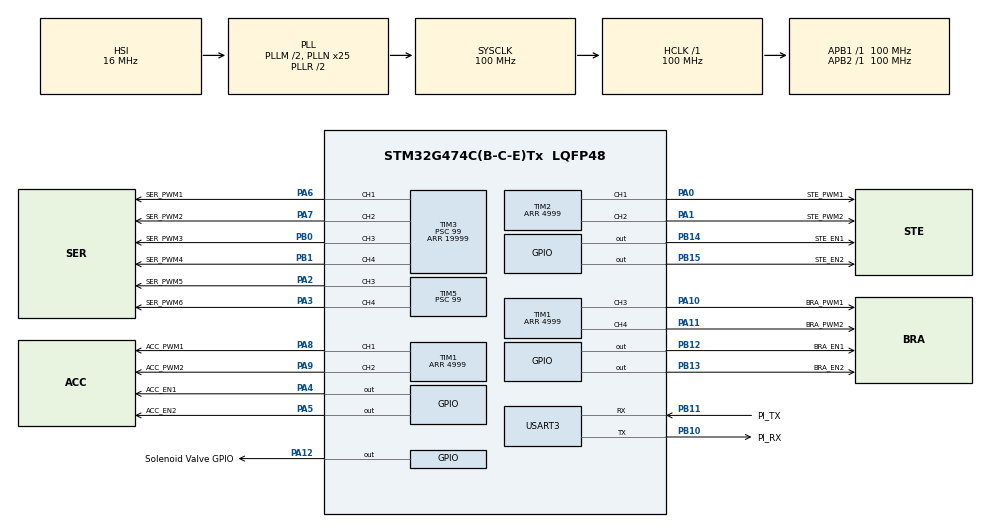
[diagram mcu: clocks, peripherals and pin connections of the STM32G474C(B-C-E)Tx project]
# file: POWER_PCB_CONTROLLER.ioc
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Mcu.Family=STM32G4
Mcu.Name=STM32G474C(B-C-E)Tx
Mcu.Package=LQFP48
NVIC.PriorityGroup=NVIC_PRIORITYGROUP_4
NVIC.USART3_IRQn=true\:0\:0\:false\:false\:true\:true\:true\:true
PA0.GPIO_Label=STE_PWM1
PA0.Signal=S_TIM2_CH1
PA1.GPIO_Label=STE_PWM2
PA1.Signal=S_TIM2_CH2
PA10.GPIO_Label=BRA_PWM1
PA10.Signal=S_TIM1_CH3
PA11.GPIO_Label=BRA_PWM2
PA11.Signal=S_TIM1_CH4
PA12.GPIO_Label=Solenoid Valve GPIO
PA12.Signal=GPIO_Output
PA13.Mode=Serial_Wire
PA13.Signal=SYS_JTMS-SWDIO
PA14.Mode=Serial_Wire
PA14.Signal=SYS_JTCK-SWCLK
PA2.GPIO_Label=SER_PWM5
PA2.Signal=S_TIM5_CH3
PA3.GPIO_Label=SER_PWM6
PA3.Signal=S_TIM5_CH4
PA4.GPIO_Label=ACC_EN1
PA4.Signal=GPIO_Output
PA5.GPIO_Label=ACC_EN2
PA5.Signal=GPIO_Output
PA6.GPIO_Label=SER_PWM1
PA6.Signal=S_TIM3_CH1
PA7.GPIO_Label=SER_PWM2
PA7.Signal=S_TIM3_CH2
PA8.GPIO_Label=ACC_PWM1
PA8.Signal=S_TIM1_CH1
PA9.GPIO_Label=ACC_PWM2
PA9.Signal=S_TIM1_CH2
PB0.GPIO_Label=SER_PWM3
PB0.Signal=S_TIM3_CH3
PB1.GPIO_Label=SER_PWM4
PB1.Signal=S_TIM3_CH4
PB10.GPIO_Label=PI_RX
PB10.Mode=Asynchronous
PB10.Signal=USART3_TX
PB11.GPIO_Label=PI_TX
PB11.Mode=Asynchronous
PB11.Signal=USART3_RX
PB12.GPIO_Label=BRA_EN1
PB12.Signal=GPIO_Output
PB13.GPIO_Label=BRA_EN2
PB13.Signal=GPIO_Output
PB14.GPIO_Label=STE_EN1
PB14.Signal=GPIO_Output
PB15.GPIO_Label=STE_EN2
PB15.Signal=GPIO_Output
ProjectManager.HeapSize=0x200
ProjectManager.StackSize=0x400
ProjectManager.TargetToolchain=STM32CubeIDE
RCC.ADC12Freq_Value=100000000
RCC.ADC345Freq_Value=100000000
RCC.AHBFreq_Value=100000000
RCC.APB1Freq_Value=100000000
RCC.APB1TimFreq_Value=100000000
RCC.APB2Freq_Value=100000000
RCC.APB2TimFreq_Value=100000000
RCC.CortexFreq_Value=100000000
RCC.EXTERNAL_CLOCK_VALUE=12288000
RCC.HCLKFreq_Value=100000000
RCC.HSE_VALUE=8000000
RCC.HSI48_VALUE=48000000
RCC.HSI_VALUE=16000000
RCC.LSE_VALUE=32768
RCC.PLLM=RCC_PLLM_DIV2
RCC.PLLN=25
RCC.SYSCLKFreq_VALUE=100000000
RCC.SYSCLKSource=RCC_SYSCLKSOURCE_PLLCLK
RCC.USBFreq_Value=100000000
RCC.VCOOutputFreq_Value=200000000
SH.S_TIM1_CH1.0=TIM1_CH1,PWM Generation1 CH1
SH.S_TIM1_CH2.0=TIM1_CH2,PWM Generation2 CH2
SH.S_TIM1_CH3.0=TIM1_CH3,PWM Generation3 CH3
SH.S_TIM1_CH4.0=TIM1_CH4,PWM Generation4 CH4
SH.S_TIM2_CH1.0=TIM2_CH1,PWM Generation1 CH1
SH.S_TIM2_CH2.0=TIM2_CH2,PWM Generation2 CH2
SH.S_TIM3_CH1.0=TIM3_CH1,PWM Generation1 CH1
SH.S_TIM3_CH2.0=TIM3_CH2,PWM Generation2 CH2
SH.S_TIM3_CH3.0=TIM3_CH3,PWM Generation3 CH3
SH.S_TIM3_CH4.0=TIM3_CH4,PWM Generation4 CH4
SH.S_TIM5_CH3.0=TIM5_CH3,PWM Generation3 CH3
SH.S_TIM5_CH4.0=TIM5_CH4,PWM Generation4 CH4
TIM1.AutoReloadPreload=TIM_AUTORELOAD_PRELOAD_ENABLE
TIM1.Channel-PWM\ Generation1\ CH1=TIM_CHANNEL_1
TIM1.Channel-PWM\ Generation2\ CH2=TIM_CHANNEL_2
TIM1.Channel-PWM\ Generation3\ CH3=TIM_CHANNEL_3
TIM1.Channel-PWM\ Generation4\ CH4=TIM_CHANNEL_4
TIM1.PeriodNoDither=4999
TIM2.AutoReloadPreload=TIM_AUTORELOAD_PRELOAD_ENABLE
TIM2.Channel-PWM\ Generation1\ CH1=TIM_CHANNEL_1
TIM2.Channel-PWM\ Generation2\ CH2=TIM_CHANNEL_2
TIM2.PeriodNoDither=4999
TIM3.AutoReloadPreload=TIM_AUTORELOAD_PRELOAD_ENABLE
TIM3.Channel-PWM\ Generation1\ CH1=TIM_CHANNEL_1
TIM3.Channel-PWM\ Generation2\ CH2=TIM_CHANNEL_2
TIM3.Channel-PWM\ Generation3\ CH3=TIM_CHANNEL_3
TIM3.Channel-PWM\ Generation4\ CH4=TIM_CHANNEL_4
TIM3.PeriodNoDither=19999
TIM3.Prescaler=99
TIM5.AutoReloadPreload=TIM_AUTORELOAD_PRELOAD_ENABLE
TIM5.Channel-PWM\ Generation3\ CH3=TIM_CHANNEL_3
TIM5.Channel-PWM\ Generation4\ CH4=TIM_CHANNEL_4
TIM5.PeriodNoDither=19999
TIM5.Prescaler=99
USART3.VirtualMode-Asynchronous=VM_ASYNC
VP_SYS_VS_DBSignals.Mode=DisableDeadBatterySignals
VP_TIM1_VS_ClockSourceINT.Mode=Internal
VP_TIM2_VS_ClockSourceINT.Mode=Internal
VP_TIM3_VS_ClockSourceINT.Mode=Internal
VP_TIM5_VS_ClockSourceINT.Mode=Internal
board=custom

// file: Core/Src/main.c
/* USER CODE BEGIN Header */

/**

  ******************************************************************************

  * @file           : main.c

  * @brief          : Main program body

  ******************************************************************************

  * @attention

  *

  * Copyright (c) 2026 STMicroelectronics.

  * All rights reserved.

  *

  * This software is licensed under terms that can be found in the LICENSE file

  * in the root directory of this software component.

  * If no LICENSE file comes with this software, it is provided AS-IS.

  *

  ******************************************************************************

  */

/* USER CODE END Header */

#include "main.h"

#include "tim.h"

#include "usart.h"

#include "gpio.h"

#include "stdbool.h"

/* USER CODE BEGIN Includes */

#include "firmware_types.h"

#include "firmware_tests.h"
#include "hardware_tests.h"

/* USER CODE END Includes */

/* USER CODE BEGIN PTD */

void setAcceleratorEnable(uint8_t enableCommand);

void setBrakingEnable(uint8_t enableCommand);

void setSteeringEnable(uint8_t enableCommand);

void setAcceleratorPWM(uint8_t pwmCommand);

void setBrakingPWM(uint8_t pwmCommand);

void setSteeringPWM(uint8_t pwmCommand);

/* USER CODE END PTD */

/* USER CODE BEGIN PD */

/* The FIRMWARE_SELF_TEST switch is in Core/Inc/firmware_tests.h. */

/* USER CODE END PD */

/* USER CODE BEGIN PV */

uint8_t brake_pwm = 100;

uint8_t steering_pwm = 100;

uint8_t accelerator_pwm = 100;

uint8_t brake_enable = 0;

uint8_t steering_enable = 0;

uint8_t accelerator_enable = 0;

uint8_t servo_commands[5] = {0, 0, 0, 0, 0};

uint8_t servo_angles[5] = {90, 90, 90, 90, 90};

uint32_t lastServoStepTime[5] = {0};

SafetyState safetyState = SAFETY_DISARMED;

bool motorAuthorized = false;

Motor accelerator = {

    .state = MOTOR_WAITING,

    .direction = 0,

    .stopTime = 0,

	.setPWM = setAcceleratorPWM,

	.setEnable = setAcceleratorEnable,

	.reverseDelayMs = 2000

};

Motor braking = {

    .state = MOTOR_WAITING,

    .direction = 0,

    .stopTime = 0,

	.setPWM = setBrakingPWM,

	.setEnable = setBrakingEnable,

	.reverseDelayMs = 1000

};

Motor steering = {

    .state = MOTOR_WAITING,

    .direction = 0,

    .stopTime = 0,

	.setPWM = setSteeringPWM,

	.setEnable = setSteeringEnable,

	.reverseDelayMs = 1000

};

uint8_t rxByte = 0;

uint8_t rxPacket[14];

uint8_t rxIndex = 0;

uint8_t completedPacket[14];

volatile bool packetReady = false;

uint32_t lastValidPacketTime = 0;

uint8_t validCommandProlonged = 250;

bool hasReceivedValidPacket = false;

/* USER CODE END PV */

void SystemClock_Config(void);

/* USER CODE BEGIN PFP */

void disableAccelerating(void);

void disableBraking(void);

void disableSteering(void);

void disableMotors(void);

void enableAccelerating(void);

void enableBraking(void);

void enableSteering(void);

void startMotorPWM(void);

void initializeMotorPWM(void);

uint16_t motorCommandToCCR(uint8_t pwmCommand);

int8_t motorDirection(uint8_t pwmCommand);

bool hasTimeElapsed(uint32_t startTime, uint32_t delayMs);

bool isDirectionReversed(int8_t previousDirection, int8_t requestedDirection);

void updateMotor(Motor *motor, uint8_t pwmCommand, uint8_t enableCommand, bool motorAuthorized);

void updateAllMotors(bool motorAuthorized);

void processReceivedByte(uint8_t byte);

bool validateChecksum(uint8_t *packet);

bool validateCommands(uint8_t *packet);

bool validatePacket(uint8_t *packet);

bool applyPacket(uint8_t *packet);

bool isCommunicationProlonged(void);

void updateSafetyState(void);

void updateServoAngles(void);

uint16_t servoAngleToPulseUs(uint8_t angle);

void updateServoPWM(void);

void startServoPWM(void);

/* USER CODE END PFP */

/* USER CODE BEGIN 0 */

bool validateCommands(uint8_t *packet){

	for (uint8_t i = 2; i < 5; i++ ){

		if (packet[i] != 0 && packet[i] != 1){

			return false;

		}

	}

	for (uint8_t i = 5; i < 8; i++ ){

		if (packet[i] > 200){

			return false;

		}

	}

	for(uint8_t i = 8; i < 13; i++){

		if((packet[i] != 100) && (packet[i] != 108) && (packet[i] != 117) && (packet[i] != 114) && (packet[i] != 0)){

			return false;

		}

	}

	return true;

}

bool validateChecksum(uint8_t *packet){

	uint16_t sum = 0;

	uint8_t checkSum = 0;

	for (uint8_t i = 2; i < 13; i++){

		uint8_t value = packet[i];

		sum += value;

	}

	checkSum = sum%256;

	return (checkSum == packet[13]);

}

bool validatePacket(uint8_t *packet){

	return (packet[0] == 0xAA && packet[1] == 0x55 && validateChecksum(packet) && validateCommands(packet));

}

bool applyPacket(uint8_t *packet){

	if (validatePacket(packet)){

		brake_enable = packet[2];

		steering_enable = packet[3];

		accelerator_enable = packet[4];

		brake_pwm = packet[5];

		steering_pwm = packet[6];

		accelerator_pwm = packet[7];

		for (uint8_t i = 0; i < 5; i++){

			servo_commands[i] = packet[i+8];

		}

		return true;

	}

	return false;

}

void processReceivedByte(uint8_t rxByte){

	if (rxIndex == 0){

		if(rxByte == 0xAA){

			rxPacket[0] = rxByte;

			rxIndex ++;

		}

		return;

	}

	if (rxIndex == 1){

		if(rxByte == 0x55){

			rxPacket[1] = rxByte;

			rxIndex ++;

		}

		else if(rxByte == 0xAA){

			rxPacket[0] = rxByte;

			rxIndex = 1;

		}

		else {rxIndex = 0;}

		return;

	}

	if ((rxIndex > 1) && (rxIndex < 14)){

		rxPacket[rxIndex] = rxByte;

		rxIndex++;

	}

	if (rxIndex == 14){

		rxIndex = 0;

		if (!packetReady){

			for (uint8_t i = 0; i < 14; i++){

				completedPacket[i] = rxPacket[i];

			}

		packetReady = true;

		}

	}

	return;

}

void updateServoAngles(void){

    uint32_t currentTime = getFirmwareTick();

    if (isCommunicationProlonged()){

        for (uint8_t i = 0; i < 5; i++){

            lastServoStepTime[i] = currentTime;

        }

        return;

    }

    for (uint8_t i = 0; i < 5; i++){

    	int8_t direction = 0;

    	if (i == 0 || i == 2 || i == 4){

            if (servo_commands[i] == 114){        // Right

                direction = 1;

            }

            else if (servo_commands[i] == 108){   // Left

                direction = -1;

            }

    	}

    	else {

            if (servo_commands[i] == 117){        // up

                direction = 1;

            }

            else if (servo_commands[i] == 100){   // down

                direction = -1;

            }

    	}

        if (direction == 0){

            lastServoStepTime[i] = currentTime;

        }

        if (currentTime - lastServoStepTime[i] >= 100){

            if (direction == 1 && servo_angles[i] < 180){

                servo_angles[i]++;

            }

            else if (direction == -1 && servo_angles[i] > 0 ){

            	servo_angles[i]--;

            }

            lastServoStepTime[i] = currentTime;

        }

    }

}

uint16_t servoAngleToPulseUs(uint8_t angle){

	if (angle > 180){

		angle = 180;

	}

	uint32_t convert1 = angle * 1000;

	uint16_t convert2 = convert1 / 180;

	uint16_t pulse = 1000 + convert2;

	return pulse;

}

void updateServoPWM(void){

	__HAL_TIM_SET_COMPARE(&htim3, TIM_CHANNEL_1, servoAngleToPulseUs(servo_angles[0]));

	__HAL_TIM_SET_COMPARE(&htim3, TIM_CHANNEL_2, servoAngleToPulseUs(servo_angles[1]));

	__HAL_TIM_SET_COMPARE(&htim3, TIM_CHANNEL_3, servoAngleToPulseUs(servo_angles[2]));

	__HAL_TIM_SET_COMPARE(&htim3, TIM_CHANNEL_4, servoAngleToPulseUs(servo_angles[3]));

	__HAL_TIM_SET_COMPARE(&htim5, TIM_CHANNEL_3, servoAngleToPulseUs(servo_angles[4]));

}

void startServoPWM(void){

	if (HAL_TIM_PWM_Start(&htim3, TIM_CHANNEL_1) != HAL_OK){

			Error_Handler();

		}

	if (HAL_TIM_PWM_Start(&htim3, TIM_CHANNEL_2) != HAL_OK){

			Error_Handler();

		}

	if (HAL_TIM_PWM_Start(&htim3, TIM_CHANNEL_3) != HAL_OK){

			Error_Handler();

		}

	if (HAL_TIM_PWM_Start(&htim3, TIM_CHANNEL_4) != HAL_OK){

			Error_Handler();

		}

	if (HAL_TIM_PWM_Start(&htim5, TIM_CHANNEL_3) != HAL_OK){

			Error_Handler();

		}

}

bool isCommunicationProlonged(void){

	if (!hasReceivedValidPacket){

		return true;

	}

	if ((getFirmwareTick() - lastValidPacketTime) > validCommandProlonged){

		return true;

	}

	return false;

}

bool hasTimeElapsed(uint32_t startTime, uint32_t delayMs){

	return (delayMs <= (getFirmwareTick() - startTime));

}

bool isDirectionReversed(int8_t previousDirection, int8_t requestedDirection){

	if (previousDirection == 0 || requestedDirection == 0){

		return false;

	}

	if (previousDirection == requestedDirection){

		return false;

	}

	else{

		return true;

	}

}

void disableAccelerating(void){

	HAL_GPIO_WritePin(GPIOA, ACC_EN1_Pin|ACC_EN2_Pin, GPIO_PIN_RESET);

}

void disableBraking(void){

	HAL_GPIO_WritePin(GPIOB, BRA_EN1_Pin|BRA_EN2_Pin, GPIO_PIN_RESET);

}

void disableSteering(void){

	HAL_GPIO_WritePin(GPIOB, STE_EN1_Pin|STE_EN2_Pin, GPIO_PIN_RESET);

}

void disableMotors(void){

	disableAccelerating();

	disableSteering();

	disableBraking();

}

void enableAccelerating(void){

	HAL_GPIO_WritePin(GPIOA, ACC_EN1_Pin|ACC_EN2_Pin, GPIO_PIN_SET);

}

void enableBraking(void){

	HAL_GPIO_WritePin(GPIOB, BRA_EN1_Pin|BRA_EN2_Pin, GPIO_PIN_SET);

}

void enableSteering(void){

	HAL_GPIO_WritePin(GPIOB, STE_EN1_Pin|STE_EN2_Pin, GPIO_PIN_SET);

}

void setAcceleratorEnable(uint8_t enableCommand){

	if (enableCommand == 1){

		enableAccelerating();

	}

	else{

		disableAccelerating();

	}

}

void setBrakingEnable(uint8_t enableCommand){

	if (enableCommand == 1){

		enableBraking();

	}

	else{

		disableBraking();

	}

}

void setSteeringEnable(uint8_t enableCommand){

	if (enableCommand == 1){

		enableSteering();

	}

	else{

		disableSteering();

	}

}

void startMotorPWM(void){

	if (HAL_TIM_PWM_Start(&htim1, TIM_CHANNEL_1) != HAL_OK){

		disableMotors();

		Error_Handler();

	}

	if (HAL_TIM_PWM_Start(&htim1, TIM_CHANNEL_2) != HAL_OK){

			disableMotors();

			Error_Handler();

		}

	if (HAL_TIM_PWM_Start(&htim1, TIM_CHANNEL_3) != HAL_OK){

			disableMotors();

			Error_Handler();

		}

	if (HAL_TIM_PWM_Start(&htim1, TIM_CHANNEL_4) != HAL_OK){

			disableMotors();

			Error_Handler();

		}

	if (HAL_TIM_PWM_Start(&htim2, TIM_CHANNEL_1) != HAL_OK){

			disableMotors();

			Error_Handler();

		}

	if (HAL_TIM_PWM_Start(&htim2, TIM_CHANNEL_2) != HAL_OK){

			disableMotors();

			Error_Handler();

		}

}

void initializeMotorPWM(void){

	__HAL_TIM_SET_COMPARE(&htim1, TIM_CHANNEL_1, 0);

	__HAL_TIM_SET_COMPARE(&htim1, TIM_CHANNEL_2, 0);

	__HAL_TIM_SET_COMPARE(&htim1, TIM_CHANNEL_3, 0);

	__HAL_TIM_SET_COMPARE(&htim1, TIM_CHANNEL_4, 0);

	__HAL_TIM_SET_COMPARE(&htim2, TIM_CHANNEL_1, 0);

	__HAL_TIM_SET_COMPARE(&htim2, TIM_CHANNEL_2, 0);

}

uint16_t motorCommandToCCR(uint8_t pwmCommand){

    if (pwmCommand > 200) {

        return 0;

    }

    if (pwmCommand < 100) {

        pwmCommand = 100 - pwmCommand;

    }

    else {

        pwmCommand = pwmCommand - 100;

    }

    return pwmCommand * 50;

}

int8_t motorDirection(uint8_t pwmCommand){

	if (pwmCommand > 200){

		return 0;

	}

	if (pwmCommand > 100){

		return 1;

	}

	else if (pwmCommand < 100){

		return -1;

	}

	else{

		return 0;

	}

}

void setAcceleratorPWM(uint8_t pwmCommand){

	uint16_t acceleratorCCR = motorCommandToCCR(pwmCommand);

	int8_t acceleratorDirection = motorDirection(pwmCommand);

	__HAL_TIM_SET_COMPARE(&htim1, TIM_CHANNEL_1, 0);	//set to 0

	__HAL_TIM_SET_COMPARE(&htim1, TIM_CHANNEL_2, 0);

	if (acceleratorDirection == 1){

		__HAL_TIM_SET_COMPARE(&htim1, TIM_CHANNEL_1, acceleratorCCR);	//PA8 = positive acceleration

	}

	else if (acceleratorDirection == -1){

		__HAL_TIM_SET_COMPARE(&htim1, TIM_CHANNEL_2, acceleratorCCR);	//PA9 = negative acceleration

	}

}

void setBrakingPWM(uint8_t pwmCommand){

	uint16_t brakingCCR = motorCommandToCCR(pwmCommand);

	int8_t brakingDirection = motorDirection(pwmCommand);

	__HAL_TIM_SET_COMPARE(&htim1, TIM_CHANNEL_3, 0);	//set to 0

	__HAL_TIM_SET_COMPARE(&htim1, TIM_CHANNEL_4, 0);

	if (brakingDirection == 1){

		__HAL_TIM_SET_COMPARE(&htim1, TIM_CHANNEL_3, brakingCCR);	//PA10 = positive braking

	}

	else if (brakingDirection == -1){

		__HAL_TIM_SET_COMPARE(&htim1, TIM_CHANNEL_4, brakingCCR);	//PA11 = negative braking

	}

}

void setSteeringPWM(uint8_t pwmCommand){

	uint16_t steeringCCR = motorCommandToCCR(pwmCommand);

	int8_t steeringDirection = motorDirection(pwmCommand);

	__HAL_TIM_SET_COMPARE(&htim2, TIM_CHANNEL_1, 0);	//set to 0

	__HAL_TIM_SET_COMPARE(&htim2, TIM_CHANNEL_2, 0);

	if (steeringDirection == 1){

		__HAL_TIM_SET_COMPARE(&htim2, TIM_CHANNEL_1, steeringCCR);	//PA0 = positive steering (right, clockwise)

	}

	else if (steeringDirection == -1){

		__HAL_TIM_SET_COMPARE(&htim2, TIM_CHANNEL_2, steeringCCR);	//PA1 = negative steering (left, cc)

	}

}

void updateMotor(Motor *motor, uint8_t pwmCommand, uint8_t enableCommand, bool motorAuthorized)

{

    int8_t requestedDirection = motorDirection(pwmCommand);

    if (!motorAuthorized || enableCommand != 1 || requestedDirection == 0)	//Stop immediately if motor operation is not authorized, disabled, or commanded neutral.

    {

        motor->setEnable(0);

        motor->setPWM(100);

        if (motor->state == MOTOR_RUNNING)

        {

        	motor->stopTime = getFirmwareTick();

        	motor->state = MOTOR_WAITING;

        }

        return;

    }

    if (motor->state == MOTOR_RUNNING && isDirectionReversed(motor->direction, requestedDirection))    //Detect a reversal while running.

    {

        motor->setEnable(0);

        motor->setPWM(100);

        motor->stopTime = getFirmwareTick();

        motor->state = MOTOR_STOPPING;

        return;

    }

    if (motor->state == MOTOR_RUNNING){

        motor->setPWM(pwmCommand);

        return;

    }

    if (motor->state == MOTOR_STOPPING) //Handle the stopping interval.

    {

        motor->setEnable(0);

        motor->setPWM(100);

        if (hasTimeElapsed(motor->stopTime, motor->reverseDelayMs) || !isDirectionReversed(motor->direction, requestedDirection))

        {

            motor->state = MOTOR_WAITING;

        }

        return;

    }

    if (motor->state == MOTOR_WAITING) //Check whether a waiting motor may restart.

    {

        if (!isDirectionReversed(motor->direction,requestedDirection) ||hasTimeElapsed(motor->stopTime,motor->reverseDelayMs))

        {

            motor->direction = requestedDirection;

            motor->setPWM(pwmCommand);

            motor->setEnable(1);

            motor->state = MOTOR_RUNNING;

        }

        else

        {

            motor->setEnable(0);

            motor->setPWM(100);

            return;

        }

    }

}

void updateAllMotors(bool motorAuthorized)

{

	updateMotor(&accelerator, accelerator_pwm, accelerator_enable, motorAuthorized);

	updateMotor(&braking, brake_pwm, brake_enable, motorAuthorized);

	updateMotor(&steering, steering_pwm, steering_enable, motorAuthorized);

}

void updateSafetyState(void){

	if (safetyState == SAFETY_DISARMED){

		motorAuthorized = false;

		disableMotors();

		updateAllMotors(motorAuthorized);

	}

	else if (safetyState == SAFETY_ARMED){

		if (!isCommunicationProlonged()){

			motorAuthorized = true;

			updateAllMotors(motorAuthorized);

		}

		else{

			motorAuthorized = false;

			disableMotors();

			updateAllMotors(motorAuthorized);

		}

	}

	else if (safetyState == SAFETY_FAULT){

		motorAuthorized = false;

		disableMotors();

		updateAllMotors(motorAuthorized);

	}

}

/* USER CODE END 0 */

int main(void)

{

  /* MCU Configuration--------------------------------------------------------*/

  /* Reset of all peripherals, Initializes the Flash interface and the Systick. */

  HAL_Init();

  /* Configure the system clock */

  SystemClock_Config();

  /* Initialize all configured peripherals */

  MX_GPIO_Init();

  MX_TIM1_Init();

  MX_TIM2_Init();

  MX_USART3_UART_Init();

  MX_TIM3_Init();

  MX_TIM5_Init();

  /* USER CODE BEGIN 2 */

  disableMotors();

#if FIRMWARE_SELF_TEST //To enable or disable testing, change this line in firmware_tests.h

  /* Do not start motor PWM or arm UART receive in test mode. */

  runFirmwareTests();

  while (1) {

      __NOP(); /* Inspect testChecks/testFailures/testFailureLog. */

  }

#elif FIRMWARE_HARDWARE_TEST
  /* Bench-only mode, independent of motor authorization. */
  startHardwareTests();
#else

  initializeMotorPWM();

  startMotorPWM();

  updateServoPWM();

  startServoPWM();

  if (HAL_UART_Receive_IT(&huart3, &rxByte, 1) != HAL_OK) {

      disableMotors();

      Error_Handler();

  }

#endif

/* USER CODE END 2 */

  /* Infinite loop */

  while (1)
  {

    /* USER CODE BEGIN 3 */

	  #if FIRMWARE_HARDWARE_TEST
      serviceHardwareTests();
#elif !FIRMWARE_SELF_TEST
      if (packetReady){

		  if (applyPacket(completedPacket)){

			  lastValidPacketTime = getFirmwareTick();

			  hasReceivedValidPacket = true;

		  }

		  packetReady = false;

	  }

	  updateSafetyState();

	  updateServoAngles();

	  updateServoPWM();
#endif

  }

  /* USER CODE END 3 */

}

void SystemClock_Config(void)

{

  RCC_OscInitTypeDef RCC_OscInitStruct = {0};

  RCC_ClkInitTypeDef RCC_ClkInitStruct = {0};

  /** Configure the main internal regulator output voltage

  */

  HAL_PWREx_ControlVoltageScaling(PWR_REGULATOR_VOLTAGE_SCALE1);

  /** Initializes the RCC Oscillators according to the specified parameters

  * in the RCC_OscInitTypeDef structure.

  */

  RCC_OscInitStruct.OscillatorType = RCC_OSCILLATORTYPE_HSI;

  RCC_OscInitStruct.HSIState = RCC_HSI_ON;

  RCC_OscInitStruct.HSICalibrationValue = RCC_HSICALIBRATION_DEFAULT;

  RCC_OscInitStruct.PLL.PLLState = RCC_PLL_ON;

  RCC_OscInitStruct.PLL.PLLSource = RCC_PLLSOURCE_HSI;

  RCC_OscInitStruct.PLL.PLLM = RCC_PLLM_DIV2;

  RCC_OscInitStruct.PLL.PLLN = 25;

  RCC_OscInitStruct.PLL.PLLP = RCC_PLLP_DIV2;

  RCC_OscInitStruct.PLL.PLLQ = RCC_PLLQ_DIV2;

  RCC_OscInitStruct.PLL.PLLR = RCC_PLLR_DIV2;

  if (HAL_RCC_OscConfig(&RCC_OscInitStruct) != HAL_OK)

  {

    Error_Handler();

  }

  /** Initializes the CPU, AHB and APB buses clocks

  */

  RCC_ClkInitStruct.ClockType = RCC_CLOCKTYPE_HCLK|RCC_CLOCKTYPE_SYSCLK

                              |RCC_CLOCKTYPE_PCLK1|RCC_CLOCKTYPE_PCLK2;

  RCC_ClkInitStruct.SYSCLKSource = RCC_SYSCLKSOURCE_PLLCLK;

  RCC_ClkInitStruct.AHBCLKDivider = RCC_SYSCLK_DIV1;

  RCC_ClkInitStruct.APB1CLKDivider = RCC_HCLK_DIV1;

  RCC_ClkInitStruct.APB2CLKDivider = RCC_HCLK_DIV1;

  if (HAL_RCC_ClockConfig(&RCC_ClkInitStruct, FLASH_LATENCY_3) != HAL_OK)

  {

    Error_Handler();

  }

}

/* USER CODE BEGIN 4 */

void HAL_UART_RxCpltCallback(UART_HandleTypeDef *huart)

{

    if (huart == &huart3){

    	processReceivedByte(rxByte);

    	if (HAL_UART_Receive_IT(&huart3, &rxByte, 1) != HAL_OK){

    		disableMotors();

    		Error_Handler();

    	}

    }

}

/* USER CODE END 4 */

void Error_Handler(void)

{

  __disable_irq();
  while (1)
  {
  }

}
